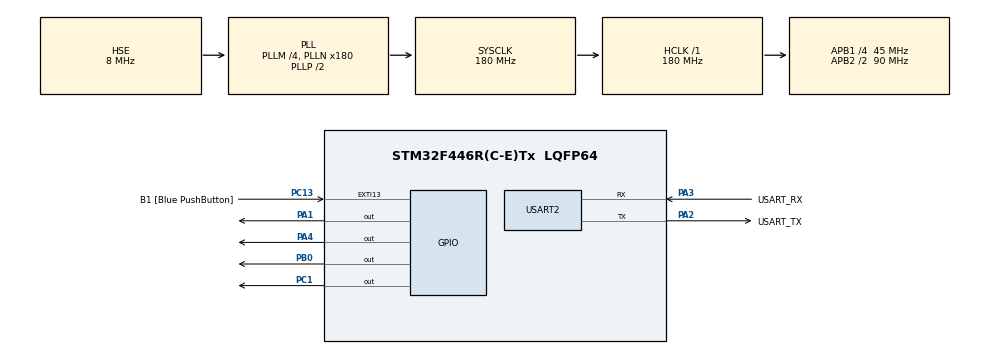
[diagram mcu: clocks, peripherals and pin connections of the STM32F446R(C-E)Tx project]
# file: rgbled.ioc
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Mcu.Family=STM32F4
Mcu.Name=STM32F446R(C-E)Tx
Mcu.Package=LQFP64
NVIC.PriorityGroup=NVIC_PRIORITYGROUP_0
NVIC.USART2_IRQn=true\:0\:0\:false\:false\:true\:true\:true\:true
PA1.Signal=GPIO_Output
PA13.GPIO_Label=TMS
PA13.Mode=Serial_Wire
PA13.Signal=SYS_JTMS-SWDIO
PA14.GPIO_Label=TCK
PA14.Mode=Serial_Wire
PA14.Signal=SYS_JTCK-SWCLK
PA2.GPIO_Label=USART_TX
PA2.Mode=Asynchronous
PA2.Signal=USART2_TX
PA3.GPIO_Label=USART_RX
PA3.Mode=Asynchronous
PA3.Signal=USART2_RX
PA4.Signal=GPIO_Output
PB0.Signal=GPIO_Output
PB3.GPIO_Label=SWO
PB3.Signal=SYS_JTDO-SWO
PC1.Signal=GPIO_Output
PC13.GPIO_Label=B1 [Blue PushButton]
PC13.GPIO_ModeDefaultEXTI=GPIO_MODE_IT_FALLING
PC13.Signal=GPXTI13
PC14-OSC32_IN.Signal=RCC_OSC32_IN
PC15-OSC32_OUT.Signal=RCC_OSC32_OUT
PH0-OSC_IN.Mode=HSE-External-Clock-Source
PH0-OSC_IN.Signal=RCC_OSC_IN
PH1-OSC_OUT.Mode=HSE-External-Clock-Source
PH1-OSC_OUT.Signal=RCC_OSC_OUT
ProjectManager.HeapSize=0x200
ProjectManager.StackSize=0x400
ProjectManager.TargetToolchain=STM32CubeIDE
RCC.48MHZClocksFreq_Value=84000000
RCC.AHBFreq_Value=180000000
RCC.APB1CLKDivider=RCC_HCLK_DIV4
RCC.APB1Freq_Value=45000000
RCC.APB1TimFreq_Value=90000000
RCC.APB2CLKDivider=RCC_HCLK_DIV2
RCC.APB2Freq_Value=90000000
RCC.APB2TimFreq_Value=180000000
RCC.CortexFreq_Value=180000000
RCC.FLatency-AdvancedSettings=FLASH_LATENCY_5
RCC.HCLKFreq_Value=180000000
RCC.HSE_VALUE=8000000
RCC.HSI_VALUE=16000000
RCC.PLLM=4
RCC.PLLN=180
RCC.PLLSourceVirtual=RCC_PLLSOURCE_HSE
RCC.SYSCLKFreq_VALUE=180000000
RCC.SYSCLKSource=RCC_SYSCLKSOURCE_PLLCLK
RCC.USBFreq_Value=180000000
RCC.VCOOutputFreq_Value=360000000
USART2.VirtualMode=VM_ASYNC
board=NUCLEO-F446RE

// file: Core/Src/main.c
/* USER CODE BEGIN Header */
/**
  ******************************************************************************
  * @file           : main.c
  * @brief          : Main program body
  ******************************************************************************
  * @attention
  *
  * Copyright (c) 2026 STMicroelectronics.
  * All rights reserved.
  *
  * This software is licensed under terms that can be found in the LICENSE file
  * in the root directory of this software component.
  * If no LICENSE file comes with this software, it is provided AS-IS.
  *
  ******************************************************************************
  */
/* USER CODE END Header */
#include "main.h"
#include <stdbool.h>
#include <stdlib.h>
#include <string.h>

/* USER CODE BEGIN PV */
UART_HandleTypeDef huart2;
char rx_data[2500];
int rxindex = 0;
bool ready = false;
uint8_t rx_char;

/* USER CODE END PV */

void SystemClock_Config(void);
static void MX_GPIO_Init(void);
static void MX_USART2_UART_Init(void);

/* USER CODE BEGIN 0 */
void RGB_OFF(void){
	 HAL_GPIO_WritePin(GPIOC, GPIO_PIN_1, GPIO_PIN_RESET); // red off
	 HAL_GPIO_WritePin(GPIOB, GPIO_PIN_0, GPIO_PIN_RESET); // green off
	 HAL_Delay(500);
}
void RGB_RED(void){
	 HAL_GPIO_WritePin(GPIOC, GPIO_PIN_1, GPIO_PIN_SET);
}
void RGB_GREEN(void){
	 RGB_OFF();
	 HAL_GPIO_WritePin(GPIOB, GPIO_PIN_0, GPIO_PIN_SET);
}
void RGB_YELLOW(void){
	RGB_OFF();
	 HAL_GPIO_WritePin(GPIOB, GPIO_PIN_0, GPIO_PIN_SET);
	 HAL_GPIO_WritePin(GPIOC, GPIO_PIN_1, GPIO_PIN_SET);

 }
void Direction_Off(void)
{
    HAL_GPIO_WritePin(GPIOA, GPIO_PIN_1, GPIO_PIN_RESET); // left off
    HAL_GPIO_WritePin(GPIOA, GPIO_PIN_4, GPIO_PIN_RESET); // right off
}
void LEFT_DIRECTION(void){
	 Direction_Off();
	 HAL_GPIO_WritePin(GPIOA, GPIO_PIN_1, GPIO_PIN_SET);
}
void RIGHT_DIRECTION(void){
	 Direction_Off();
	 HAL_GPIO_WritePin(GPIOA, GPIO_PIN_4, GPIO_PIN_SET);
}
void STRAIGHT_DIRECTION(void){
	Direction_Off();
	HAL_GPIO_WritePin(GPIOA, GPIO_PIN_1, 1);
	HAL_GPIO_WritePin(GPIOA, GPIO_PIN_4, 1);

}

typedef enum{
	STATUS_GREEN,
	STATUS_YELLOW,
	STATUS_RED
}Status;

Status CurrentStatus;
void SetStatus(int distance){
	if(distance >= 20){
		CurrentStatus = STATUS_GREEN;
	}
	else if (distance< 20 && distance > 0){
		CurrentStatus = STATUS_YELLOW;
	}
	else if (distance == 0){
		CurrentStatus = STATUS_RED;
	}
}

void UpdateStatusLight(void){
	if (CurrentStatus== STATUS_GREEN){
		RGB_GREEN();
	}
	else if (CurrentStatus == STATUS_RED){
		RGB_RED();
	}
	else if (CurrentStatus == STATUS_YELLOW){
		RGB_YELLOW();
	}
}

void HandleCommands(char* command){

	char *direction = strtok(command, ","); // left
	char *distanceText = strtok(NULL, ","); // 30
	char *display_text = strtok(NULL, ",");
	int distance = atoi(distanceText);
	if (strcmp(direction, "REROUTE")==0){
		CurrentStatus = STATUS_RED;
		Direction_Off();
	}

	else{
	if (strcmp(direction, "LEFT")==0 ){
		LEFT_DIRECTION();
	}
	else if (strcmp (direction, "RIGHT")==0){
		RIGHT_DIRECTION();
	}
	else if (strcmp (direction, "STRAIGHT")==0){
		STRAIGHT_DIRECTION();
	}

	SetStatus(distance);
	}
	UpdateStatusLight();

}

/* USER CODE END 0 */

int main(void)
{

  /* MCU Configuration--------------------------------------------------------*/

  /* Reset of all peripherals, Initializes the Flash interface and the Systick. */
  HAL_Init();

  /* Configure the system clock */
  SystemClock_Config();

  /* Initialize all configured peripherals */
  MX_GPIO_Init();
  MX_USART2_UART_Init();
  /* USER CODE BEGIN 2 */
 HAL_UART_Receive_IT(&huart2, &rx_char, 1); //retreive computer side text

  /* USER CODE END 2 */

  /* Infinite loop */
  while (1)
  {

    /* USER CODE BEGIN 3 */
	  if(ready){
		  HandleCommands(rx_data);
		  UpdateStatusLight();
		    ready = false;

	  }
//
//	  HAL_Delay(200);

  }
  /* USER CODE END 3 */
}

void SystemClock_Config(void)
{
  RCC_OscInitTypeDef RCC_OscInitStruct = {0};
  RCC_ClkInitTypeDef RCC_ClkInitStruct = {0};

  /** Configure the main internal regulator output voltage
  */
  __HAL_RCC_PWR_CLK_ENABLE();
  __HAL_PWR_VOLTAGESCALING_CONFIG(PWR_REGULATOR_VOLTAGE_SCALE1);

  /** Initializes the RCC Oscillators according to the specified parameters
  * in the RCC_OscInitTypeDef structure.
  */
  RCC_OscInitStruct.OscillatorType = RCC_OSCILLATORTYPE_HSE;
  RCC_OscInitStruct.HSEState = RCC_HSE_BYPASS;
  RCC_OscInitStruct.PLL.PLLState = RCC_PLL_ON;
  RCC_OscInitStruct.PLL.PLLSource = RCC_PLLSOURCE_HSE;
  RCC_OscInitStruct.PLL.PLLM = 4;
  RCC_OscInitStruct.PLL.PLLN = 180;
  RCC_OscInitStruct.PLL.PLLP = RCC_PLLP_DIV2;
  RCC_OscInitStruct.PLL.PLLQ = 2;
  RCC_OscInitStruct.PLL.PLLR = 2;
  if (HAL_RCC_OscConfig(&RCC_OscInitStruct) != HAL_OK)
  {
    Error_Handler();
  }

  /** Activate the Over-Drive mode
  */
  if (HAL_PWREx_EnableOverDrive() != HAL_OK)
  {
    Error_Handler();
  }

  /** Initializes the CPU, AHB and APB buses clocks
  */
  RCC_ClkInitStruct.ClockType = RCC_CLOCKTYPE_HCLK|RCC_CLOCKTYPE_SYSCLK
                              |RCC_CLOCKTYPE_PCLK1|RCC_CLOCKTYPE_PCLK2;
  RCC_ClkInitStruct.SYSCLKSource = RCC_SYSCLKSOURCE_PLLCLK;
  RCC_ClkInitStruct.AHBCLKDivider = RCC_SYSCLK_DIV1;
  RCC_ClkInitStruct.APB1CLKDivider = RCC_HCLK_DIV4;
  RCC_ClkInitStruct.APB2CLKDivider = RCC_HCLK_DIV2;

  if (HAL_RCC_ClockConfig(&RCC_ClkInitStruct, FLASH_LATENCY_5) != HAL_OK)
  {
    Error_Handler();
  }
}

static void MX_USART2_UART_Init(void)
{

  huart2.Instance = USART2;
  huart2.Init.BaudRate = 115200;
  huart2.Init.WordLength = UART_WORDLENGTH_8B;
  huart2.Init.StopBits = UART_STOPBITS_1;
  huart2.Init.Parity = UART_PARITY_NONE;
  huart2.Init.Mode = UART_MODE_TX_RX;
  huart2.Init.HwFlowCtl = UART_HWCONTROL_NONE;
  huart2.Init.OverSampling = UART_OVERSAMPLING_16;
  if (HAL_UART_Init(&huart2) != HAL_OK)
  {
    Error_Handler();
  }

}

static void MX_GPIO_Init(void)
{
  GPIO_InitTypeDef GPIO_InitStruct = {0};

  /* GPIO Ports Clock Enable */
  __HAL_RCC_GPIOC_CLK_ENABLE();
  __HAL_RCC_GPIOH_CLK_ENABLE();
  __HAL_RCC_GPIOA_CLK_ENABLE();
  __HAL_RCC_GPIOB_CLK_ENABLE();

  /*Configure GPIO pin Output Level */
  HAL_GPIO_WritePin(GPIOC, GPIO_PIN_1, GPIO_PIN_RESET);

  /*Configure GPIO pin Output Level */
  HAL_GPIO_WritePin(GPIOA, GPIO_PIN_1|GPIO_PIN_4, GPIO_PIN_RESET);

  /*Configure GPIO pin Output Level */
  HAL_GPIO_WritePin(GPIOB, GPIO_PIN_0, GPIO_PIN_RESET);

  /*Configure GPIO pin : B1_Pin */
  GPIO_InitStruct.Pin = B1_Pin;
  GPIO_InitStruct.Mode = GPIO_MODE_IT_FALLING;
  GPIO_InitStruct.Pull = GPIO_NOPULL;
  HAL_GPIO_Init(B1_GPIO_Port, &GPIO_InitStruct);

  /*Configure GPIO pin : PC1 */
  GPIO_InitStruct.Pin = GPIO_PIN_1;
  GPIO_InitStruct.Mode = GPIO_MODE_OUTPUT_PP;
  GPIO_InitStruct.Pull = GPIO_NOPULL;
  GPIO_InitStruct.Speed = GPIO_SPEED_FREQ_LOW;
  HAL_GPIO_Init(GPIOC, &GPIO_InitStruct);

  /*Configure GPIO pins : PA1 PA4 */
  GPIO_InitStruct.Pin = GPIO_PIN_1|GPIO_PIN_4;
  GPIO_InitStruct.Mode = GPIO_MODE_OUTPUT_PP;
  GPIO_InitStruct.Pull = GPIO_NOPULL;
  GPIO_InitStruct.Speed = GPIO_SPEED_FREQ_LOW;
  HAL_GPIO_Init(GPIOA, &GPIO_InitStruct);

  /*Configure GPIO pin : PB0 */
  GPIO_InitStruct.Pin = GPIO_PIN_0;
  GPIO_InitStruct.Mode = GPIO_MODE_OUTPUT_PP;
  GPIO_InitStruct.Pull = GPIO_NOPULL;
  GPIO_InitStruct.Speed = GPIO_SPEED_FREQ_LOW;
  HAL_GPIO_Init(GPIOB, &GPIO_InitStruct);

}

/* USER CODE BEGIN 4 */
void HAL_UART_RxCpltCallback(UART_HandleTypeDef *huart2){
	if(rx_char == '\r'|| rx_char == '\n'){
		rx_data[rxindex]= '\0';
		ready = true;
		 HAL_UART_Transmit(huart2, (uint8_t *) rx_data, strlen(rx_data), HAL_MAX_DELAY);
		 HAL_UART_Transmit(huart2, (uint8_t *)"\r\n", 2, HAL_MAX_DELAY);

		 rxindex = 0;

	}
	else{
		rx_data[rxindex] = rx_char;
		rxindex++;
	}
	HAL_UART_Receive_IT(huart2, &rx_char, 1);

}

/* USER CODE END 4 */

void Error_Handler(void)
{
  __disable_irq();
  while (1)
  {
  }
}
